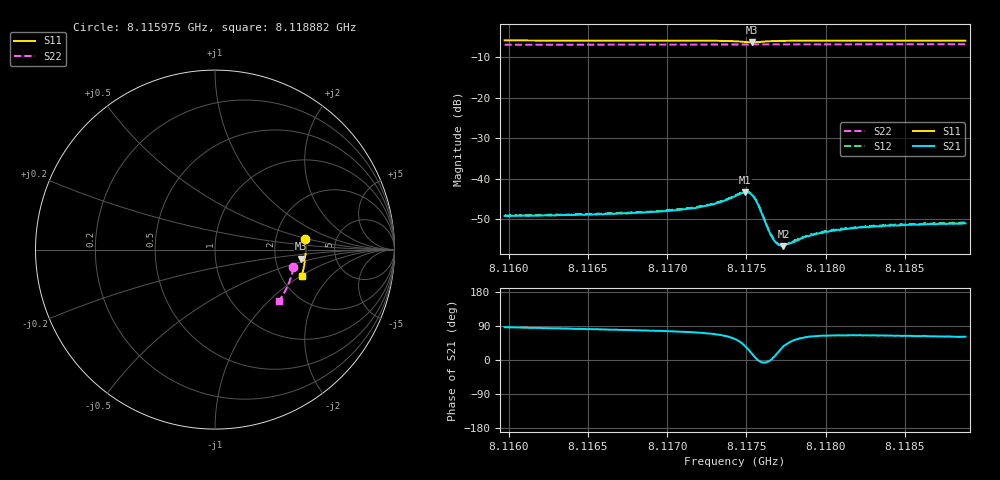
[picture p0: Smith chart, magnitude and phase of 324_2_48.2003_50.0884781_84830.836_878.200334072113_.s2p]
#  HZ  S  RI  R  50.00
! Rohde & Schwarz Vector Network Analyzer
! Rohde-Schwarz,ZNB20-2Port,1311601062101988,3.16
! Created: UTC 3/20/2024, 11:50:36 AM
! freq[Hz]  re:S11  im:S11  re:S21  im:S21  re:S12  im:S12  re:S22  im:S22
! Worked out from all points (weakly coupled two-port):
!   401 points, 8.115975 GHz to 8.118882 GHz, reference 50 ohm
!   highest |S21| = -43.29 dB at 8.117494 GHz (marker M1); lowest = -56.6 dB at 8.117734 GHz (marker M2)
!   lowest |S11| = -6.4 dB at 8.117538 GHz (marker M3), VSWR 2.85, Z = 140 - j18.5 ohm
!   |S11| at or under -10 dB: nowhere
!   |S22| runs from -7.0 to -6.8 dB; largest |S21 - S12| = 0.00018
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8.1159754e9  0.5038 0.0599  0.00022 0.00349  0.000272 0.00352  0.4372 -0.0995
8.1164623e9  0.5061 0.0235  0.000514 0.00359  0.000577 0.00362  0.4298 -0.1326
8.1169492e9  0.5057 -0.014  0.000901 0.00386  0.000947 0.0039  0.4198 -0.165
8.1171818e9  0.5035 -0.0331  0.0013 0.00418  0.00136 0.00426  0.4142 -0.1803
8.1173053e9  0.501 -0.0444  0.00187 0.0046  0.00193 0.00461  0.4108 -0.1883
8.1174289e9  0.4933 -0.0566  0.00351 0.00502  0.00364 0.00505  0.4071 -0.1962
8.1174943e9  0.4828 -0.0582  0.00553 0.00403  0.00569 0.00405  0.405 -0.2002
8.1175161e9  0.4795 -0.0553  0.00605 0.00297  0.00622 0.00295  0.4043 -0.2015
8.1175379e9  0.4784 -0.0509  0.00607 0.00166  0.0062 0.00165  0.4036 -0.2023
8.1175524e9  0.4794 -0.048  0.00571 0.000833  0.00582 0.0008  0.4034 -0.2032
8.1175742e9  0.4827 -0.045  0.00483 -5.36e-05  0.00492 -8.1e-05  0.4029 -0.2045
8.1176396e9  0.4934 -0.0476  0.00237 -0.000164  0.00237 -0.00018  0.4013 -0.2087
8.1176687e9  0.4959 -0.0508  0.0018 0.000213  0.00187 0.000183  0.4008 -0.2106
8.1176905e9  0.4971 -0.0534  0.00155 0.000423  0.00157 0.00046  0.4001 -0.2119
8.117705e9  0.4976 -0.0552  0.00142 0.00057  0.00144 0.000588  0.3998 -0.2129
8.1177341e9  0.4985 -0.0583  0.00119 0.000879  0.00128 0.000885  0.3988 -0.2149
8.1178722e9  0.4988 -0.0719  0.000962 0.00168  0.000985 0.00166  0.3946 -0.2236
8.1179158e9  0.4986 -0.0759  0.000959 0.00182  0.00101 0.0018  0.3931 -0.2264
8.1180103e9  0.4976 -0.0837  0.000962 0.002  0.001 0.00205  0.3901 -0.2322
8.1181411e9  0.4959 -0.094  0.000997 0.00221  0.00105 0.00225  0.3855 -0.2402
8.1184027e9  0.4917 -0.114  0.00113 0.00238  0.00122 0.00245  0.3762 -0.2561
8.1188823e9  0.482 -0.1488  0.00135 0.00249  0.00142 0.00252  0.3573 -0.2841
